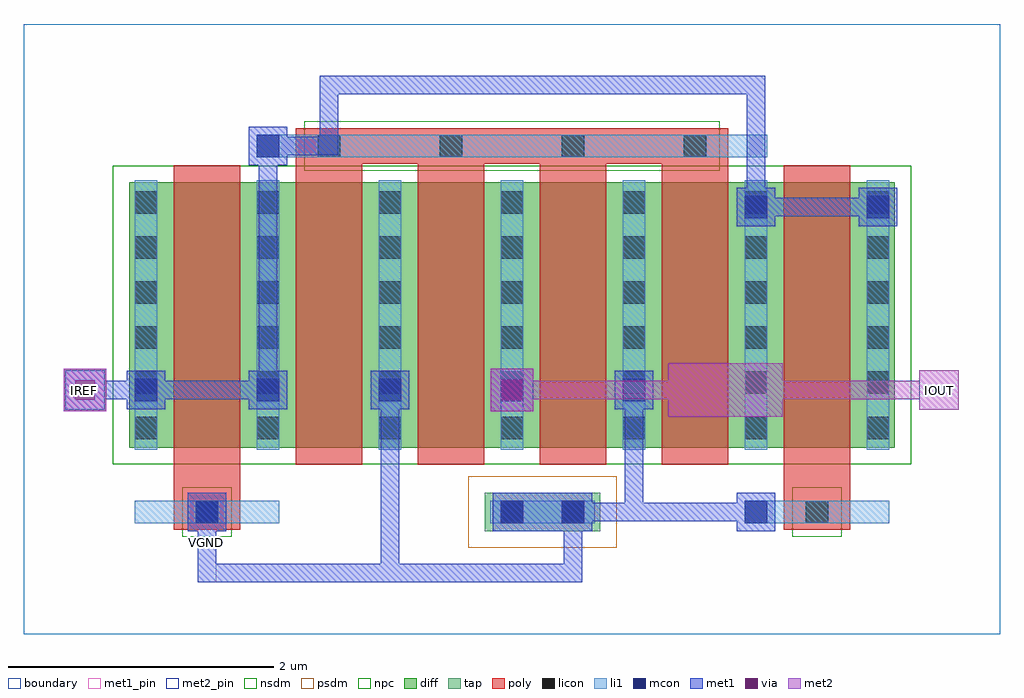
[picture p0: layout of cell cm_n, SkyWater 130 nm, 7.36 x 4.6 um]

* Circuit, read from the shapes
.subckt cm_n IOUT IREF VGND
XM1 IREF VGND IREF VGND sky130_fd_pr__nfet_01v8 w=2 l=0.5 m=2
XM2 VGND IREF IREF VGND sky130_fd_pr__nfet_01v8 w=2 l=0.5 m=2
XM3 IOUT IREF VGND VGND sky130_fd_pr__nfet_01v8 w=2 l=0.5 m=2
.ends

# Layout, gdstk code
import gdstk
lib = gdstk.Library(unit=1e-6, precision=1e-09)
def R(c, l, rs):  # rectangles x0, y0, x1, y1
    for r in rs: c.add(gdstk.rectangle(r[:2], r[2:], *l))
def A(c, l, x, y, w, h, nx, ny, dx, dy):  # array of equal rectangles
    R(c, l, [(x+i*dx, y+j*dy, x+i*dx+w, y+j*dy+h) for i in range(nx) for j in range(ny)])
diff = (65, 20)
tap = (65, 44)
poly = (66, 20)
licon = (66, 44)
li1 = (67, 20)
mcon = (67, 44)
met1_pin = (68, 16)
met1 = (68, 20)
via = (68, 44)
met2_pin = (69, 16)
met2 = (69, 20)
nsdm = (93, 44)
psdm = (94, 20)
npc = (95, 20)
boundary = (235, 4)

cm_n = lib.new_cell('cm_n')
R(cm_n, diff, [(0.795,1.405,6.565,3.405)])
R(cm_n, tap, [(3.475,0.775,4.345,1.065)])
A(cm_n, poly, 2.05, 1.275, 0.5, 2.405, 4, 1, 0.92, 0)
R(cm_n, poly, [(1.13,0.785,1.63,1.055), (5.73,0.785,6.23,1.055), (1.13,0.92,1.63,3.535), (5.73,0.92,6.23,3.535), (2.05,3.545,5.31,3.815)])
A(cm_n, licon, 0.835, 1.47, 0.17, 0.17, 7, 6, 0.92, 0.34)
A(cm_n, licon, 2.215, 3.595, 0.17, 0.17, 4, 1, 0.92, 0)
R(cm_n, licon, [(1.295,0.835,1.465,1.005), (3.595,0.835,3.765,1.005), (4.055,0.835,4.225,1.005), (5.895,0.835,6.065,1.005)])
A(cm_n, li1, 0.835, 1.39, 0.17, 2.03, 7, 1, 0.92, 0)
R(cm_n, li1, [(0.835,0.835,1.925,1.005), (3.515,0.835,4.305,1.005), (5.435,0.835,6.525,1.005), (1.755,3.595,5.605,3.765)])
A(cm_n, mcon, 0.835, 1.755, 0.17, 0.17, 5, 1, 0.92, 0)
R(cm_n, mcon, [(1.295,0.835,1.465,1.005), (3.595,0.835,3.765,1.005), (4.055,0.835,4.225,1.005), (5.435,0.835,5.605,1.005), (5.435,3.135,5.605,3.305), (6.355,3.135,6.525,3.305), (1.755,3.595,1.925,3.765)])
R(cm_n, met1_pin, [(1.31,0.39,1.45,0.99)])
A(cm_n, met1, 0.775, 1.695, 0.29, 0.29, 5, 1, 0.92, 0)
R(cm_n, met1, [(1.31,0.39,1.45,0.99), (1.31,0.39,2.83,0.53), (2.69,0.39,4.21,0.53), (2.69,0.39,2.83,1.91), (4.07,0.39,4.21,0.99), (1.235,0.775,1.525,1.065), (3.535,0.775,4.285,1.065), (5.375,0.775,5.665,1.065), (4.07,0.85,4.67,0.99), (4.07,0.85,4.21,0.99), (4.53,0.85,5.59,0.99), (4.53,0.85,4.67,1.91), (0.3,1.68,0.62,2), (3.52,1.68,3.84,2), (0.39,1.77,0.99,1.91), (0.85,1.77,1.91,1.91), (1.77,1.77,1.91,3.75), (5.375,3.075,5.665,3.365), (6.295,3.075,6.585,3.365), (5.45,3.15,6.51,3.29), (5.45,3.15,5.59,4.21), (1.695,3.535,1.985,3.825), (1.77,3.61,2.37,3.75), (2.23,3.61,2.37,4.21), (2.23,4.07,5.59,4.21)])
R(cm_n, via, [(0.385,1.765,0.535,1.915), (3.605,1.765,3.755,1.915)])
R(cm_n, met2_pin, [(0.31,1.69,0.61,1.99), (6.75,1.69,7.05,1.99)])
R(cm_n, met2, [(4.86,1.64,5.72,2.04), (0.3,1.68,0.62,2), (3.52,1.68,3.84,2), (0.31,1.69,0.61,1.99), (6.75,1.69,7.05,1.99), (0.39,1.77,0.53,1.91), (3.61,1.77,5.13,1.91), (5.45,1.77,6.97,1.91), (6.83,1.77,6.97,1.91)])
R(cm_n, nsdm, [(0.67,1.28,6.69,3.53)])
R(cm_n, psdm, [(3.35,0.65,4.47,1.19)])
R(cm_n, npc, [(1.195,0.735,1.565,1.105), (5.795,0.735,6.165,1.105), (2.115,3.495,5.245,3.865)])
R(cm_n, boundary, [(0,0,7.36,4.6)])
cm_n.add(gdstk.Label('VGND', (1.38,0.69), layer=68, texttype=5))
cm_n.add(gdstk.Label('IREF', (0.46,1.84), layer=69, texttype=5))
cm_n.add(gdstk.Label('IOUT', (6.9,1.84), layer=69, texttype=5))
cm_n.add(gdstk.Label('VGND', (1.38,0.69), layer=68, texttype=16))
cm_n.add(gdstk.Label('IREF', (0.46,1.84), layer=69, texttype=16))
cm_n.add(gdstk.Label('IOUT', (6.9,1.84), layer=69, texttype=16))

lib.write_gds('cm_n.gds')
